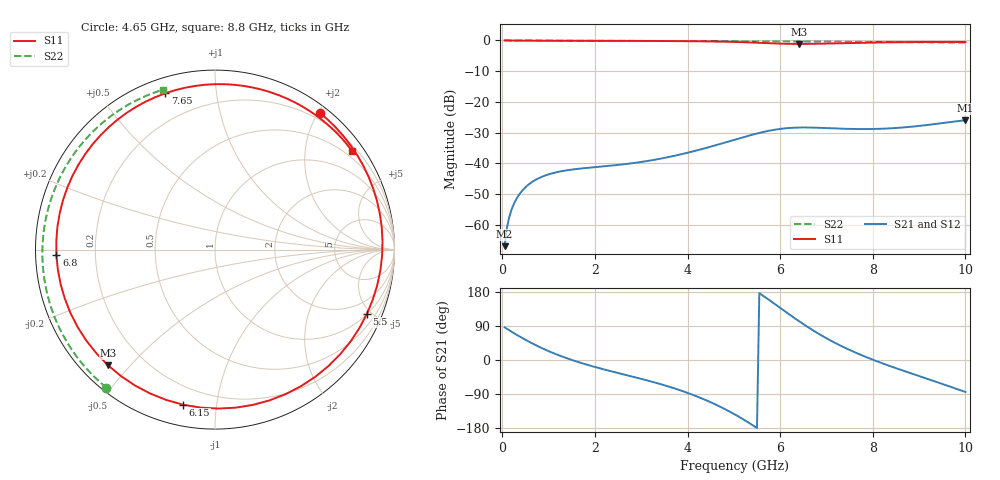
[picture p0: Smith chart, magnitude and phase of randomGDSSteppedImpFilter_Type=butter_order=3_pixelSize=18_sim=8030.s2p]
! freq	dB(S11)	phase(S11)	dB(S12)	phase(S12)
!  dB(S21)	phase(S21)	dB(S22)	phase(S22)
!S-par simulation data
#  GHz  S  DB  R 50
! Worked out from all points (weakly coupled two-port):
!   200 points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, 50 MHz to 10 GHz, reference 50 ohm
!   highest |S21| = -25.97 dB at 10 GHz (marker M1); lowest = -67.0 dB at 50 MHz (marker M2)
!   lowest |S11| = -1.1 dB at 6.4 GHz (marker M3), VSWR 15.37, Z = 3.87 - j21.8 ohm
!   |S11| at or under -10 dB: nowhere
!   |S22| runs from -0.7 to 0.0 dB; largest |S21 - S12| = 0
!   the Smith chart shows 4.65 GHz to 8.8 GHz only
!   S11 on the Smith chart (normalised r, x): 4.65 GHz: 0.10, +2.02; 5.5 GHz: 1.02, -4.70; 6.15 GHz: 0.10, -0.81; 6.8 GHz: 0.06, -0.02; 7.65 GHz: 0.07, +0.73; 8.8 GHz: 0.32, +3.06
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0.05  -0.00 -6.2  -66.96 86.1  -66.96 86.1  -0.00 -1.5
0.25  -0.05 -30.5  -53.19 71.0  -53.19 71.0  -0.01 -7.4
0.75  -0.09 -83.9  -45.11 37.4  -45.11 37.4  -0.03 -21.9
1.25  -0.11 -124.5  -42.64 11.1  -42.64 11.1  -0.05 -36.4
1.75  -0.12 -155.7  -41.59 -9.6  -41.59 -9.6  -0.06 -50.6
2.55  -0.13 163.9  -40.43 -35.9  -40.43 -35.9  -0.09 -72.7
3.4  -0.17 124.0  -38.52 -63.1  -38.52 -63.1  -0.13 -95.5
4.1  -0.24 87.6  -36.18 -91.3  -36.18 -91.3  -0.16 -113.9
4.65  -0.35 52.6  -33.93 -120.1  -33.93 -120.1  -0.19 -128.2
5.05  -0.49 21.1  -32.16 -145.6  -32.16 -145.6  -0.22 -138.7
5.5  -0.73 -23.0  -30.28 -179.5  -30.28 -179.5  -0.25 -150.6
5.85  -0.95 -63.9  -29.14 150.8  -29.14 150.8  -0.28 -160.0
6.15  -1.09 -101.6  -28.54 124.5  -28.54 124.5  -0.30 -168.2
6.4  -1.13 -132.7  -28.34 103.0  -28.34 103.0  -0.33 -175.1
6.7  -1.10 -167.4  -28.35 79.0  -28.35 79.0  -0.35 176.3
6.8  -1.07 -178.1  -28.40 71.5  -28.40 71.5  -0.36 173.4
7.25  -0.92 139.3  -28.67 41.2  -28.67 41.2  -0.40 159.9
7.65  -0.78 107.6  -28.83 18.4  -28.83 18.4  -0.45 147.4
8.35  -0.60 61.5  -28.63 -15.1  -28.63 -15.1  -0.52 124.0
8.8  -0.53 35.9  -28.13 -34.1  -28.13 -34.1  -0.57 107.9
9.4  -0.48 4.7  -27.09 -58.9  -27.09 -58.9  -0.63 85.3
10  -0.51 -24.5  -25.97 -84.4  -25.97 -84.4  -0.68 61.8
